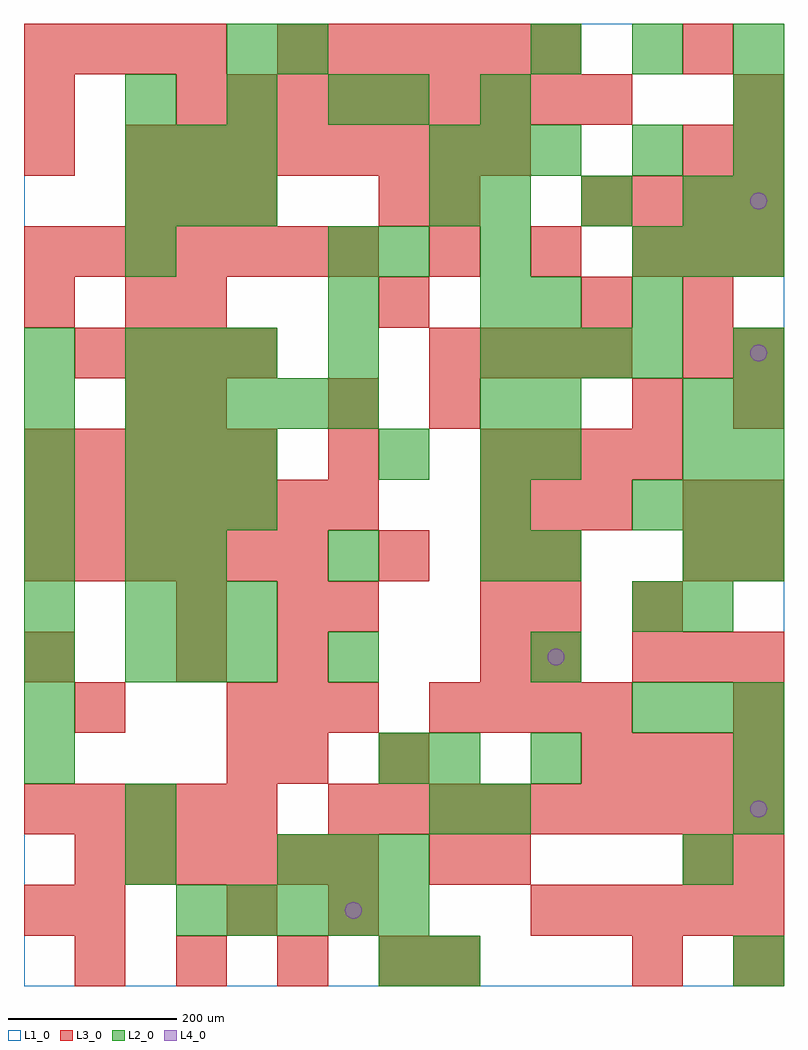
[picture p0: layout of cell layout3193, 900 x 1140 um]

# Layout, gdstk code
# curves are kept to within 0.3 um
import gdstk
lib = gdstk.Library(unit=1e-6, precision=1e-09)
def R(c, l, rs):  # rectangles x0, y0, x1, y1
    for r in rs: c.add(gdstk.rectangle(r[:2], r[2:], *l))
def A(c, l, x, y, w, h, nx, ny, dx, dy):  # array of equal rectangles
    R(c, l, [(x+i*dx, y+j*dy, x+i*dx+w, y+j*dy+h) for i in range(nx) for j in range(ny)])
def P(c, l, *ps):  # polygons
    for p in ps: c.add(gdstk.Polygon(p, *l))
L1_0 = (1, 0)
L2_0 = (2, 0)
L3_0 = (3, 0)
L4_0 = (4, 0)

layout3193 = lib.new_cell('layout3193')
R(layout3193, L1_0, [(0,0,900,1140)])
A(layout3193, L2_0, 180, 60, 60, 60, 5, 1, 60, 0)
A(layout3193, L2_0, 300, 120, 60, 60, 3, 1, 60, 0)
A(layout3193, L2_0, 0, 240, 60, 60, 1, 9, 0, 60)
A(layout3193, L2_0, 600, 240, 60, 60, 1, 4, 0, 120)
A(layout3193, L2_0, 720, 300, 60, 60, 3, 2, 60, 240)
A(layout3193, L2_0, 120, 360, 60, 60, 3, 2, 60, 60)
A(layout3193, L2_0, 180, 480, 60, 60, 3, 1, 180, 0)
A(layout3193, L2_0, 120, 540, 60, 60, 3, 2, 60, 60)
A(layout3193, L2_0, 540, 540, 60, 60, 1, 3, 0, 60)
A(layout3193, L2_0, 840, 600, 60, 60, 1, 3, 0, 60)
A(layout3193, L2_0, 120, 660, 60, 60, 5, 1, 60, 0)
A(layout3193, L2_0, 120, 720, 60, 60, 3, 2, 60, 180)
A(layout3193, L2_0, 360, 720, 60, 60, 1, 3, 0, 60)
A(layout3193, L2_0, 540, 720, 60, 60, 4, 1, 60, 0)
A(layout3193, L2_0, 720, 840, 60, 60, 3, 1, 60, 0)
A(layout3193, L2_0, 540, 900, 60, 60, 3, 1, 120, 0)
A(layout3193, L2_0, 840, 900, 60, 60, 1, 3, 0, 60)
A(layout3193, L2_0, 120, 960, 60, 60, 3, 1, 60, 0)
A(layout3193, L2_0, 480, 960, 60, 60, 3, 1, 60, 0)
A(layout3193, L2_0, 120, 1020, 60, 60, 3, 1, 120, 0)
A(layout3193, L2_0, 600, 1080, 60, 60, 3, 1, 120, 0)
R(layout3193, L2_0, [(420,0,480,60), (480,0,540,60), (840,0,900,60), (120,120,180,180), (780,120,840,180), (120,180,180,240), (480,180,540,240), (540,180,600,240), (840,180,900,240), (420,240,480,300), (480,240,540,300), (840,240,900,300), (360,360,420,420), (720,420,780,480), (780,420,840,480), (120,480,180,540), (780,480,840,540), (840,480,900,540), (420,600,480,660), (780,600,840,660), (600,660,660,720), (780,660,840,720), (540,780,600,840), (600,780,660,840), (720,780,780,840), (120,840,180,900), (420,840,480,900), (540,840,600,900), (480,900,540,960), (720,960,780,1020), (420,1020,480,1080), (540,1020,600,1080), (240,1080,300,1140), (300,1080,360,1140)])
A(layout3193, L3_0, 60, 0, 60, 60, 4, 1, 120, 0)
A(layout3193, L3_0, 600, 60, 60, 60, 5, 1, 60, 0)
A(layout3193, L3_0, 60, 120, 60, 60, 6, 1, 60, 0)
A(layout3193, L3_0, 840, 120, 60, 60, 1, 3, 0, 180)
A(layout3193, L3_0, 0, 180, 60, 60, 5, 2, 60, 420)
A(layout3193, L3_0, 360, 180, 60, 60, 9, 1, 60, 0)
A(layout3193, L3_0, 660, 240, 60, 60, 4, 2, 60, 660)
A(layout3193, L3_0, 240, 300, 60, 60, 3, 1, 60, 0)
A(layout3193, L3_0, 480, 300, 60, 60, 4, 2, 60, 420)
A(layout3193, L3_0, 540, 360, 60, 60, 1, 3, 0, 60)
A(layout3193, L3_0, 600, 360, 60, 60, 1, 3, 0, 60)
A(layout3193, L3_0, 720, 360, 60, 60, 3, 1, 60, 0)
A(layout3193, L3_0, 0, 480, 60, 60, 6, 1, 60, 0)
A(layout3193, L3_0, 0, 540, 60, 60, 7, 2, 60, 300)
A(layout3193, L3_0, 540, 540, 60, 60, 3, 1, 60, 0)
A(layout3193, L3_0, 540, 600, 60, 60, 4, 1, 60, 0)
A(layout3193, L3_0, 60, 720, 60, 60, 4, 1, 60, 0)
A(layout3193, L3_0, 780, 720, 60, 60, 1, 3, 0, 60)
A(layout3193, L3_0, 840, 720, 60, 60, 1, 3, 0, 120)
A(layout3193, L3_0, 180, 780, 60, 60, 3, 1, 240, 0)
A(layout3193, L3_0, 480, 840, 60, 60, 3, 1, 120, 0)
A(layout3193, L3_0, 120, 900, 60, 60, 3, 1, 60, 0)
A(layout3193, L3_0, 120, 960, 60, 60, 8, 1, 60, 0)
A(layout3193, L3_0, 180, 1020, 60, 60, 9, 1, 60, 0)
A(layout3193, L3_0, 0, 1080, 60, 60, 4, 1, 60, 0)
A(layout3193, L3_0, 300, 1080, 60, 60, 6, 1, 60, 0)
R(layout3193, L3_0, [(480,0,540,60), (720,0,780,60), (840,0,900,60), (0,60,60,120), (60,60,120,120), (240,60,300,120), (360,60,420,120), (480,120,540,180), (540,120,600,180), (780,120,840,180), (240,240,300,300), (300,240,360,300), (420,240,480,300), (60,300,120,360), (0,360,60,420), (180,360,240,420), (300,360,360,420), (180,420,240,480), (300,420,360,480), (360,420,420,480), (720,420,780,480), (420,480,480,540), (780,480,840,540), (780,540,840,600), (840,540,900,600), (360,600,420,660), (120,660,180,720), (180,660,240,720), (360,660,420,720), (480,660,540,720), (720,660,780,720), (840,660,900,720), (0,780,60,840), (120,780,180,840), (420,900,480,960), (480,900,540,960), (0,960,60,1020), (780,960,840,1020), (0,1020,60,1080), (840,1020,900,1080), (780,1080,840,1140)])
P(layout3193, L4_0, [(400,90),(399.239,93.827),(397.071,97.071),(393.827,99.239),(390,100),(386.173,99.239),(382.929,97.071),(380.761,93.827),(380,90),(380.761,86.173),(382.929,82.929),(386.173,80.761),(390,80),(393.827,80.761),(397.071,82.929),(399.239,86.173)],
  [(640,390),(639.239,393.827),(637.071,397.071),(633.827,399.239),(630,400),(626.173,399.239),(622.929,397.071),(620.761,393.827),(620,390),(620.761,386.173),(622.929,382.929),(626.173,380.761),(630,380),(633.827,380.761),(637.071,382.929),(639.239,386.173)],
  [(880,210),(879.239,213.827),(877.071,217.071),(873.827,219.239),(870,220),(866.173,219.239),(862.929,217.071),(860.761,213.827),(860,210),(860.761,206.173),(862.929,202.929),(866.173,200.761),(870,200),(873.827,200.761),(877.071,202.929),(879.239,206.173)],
  [(880,750),(879.239,753.827),(877.071,757.071),(873.827,759.239),(870,760),(866.173,759.239),(862.929,757.071),(860.761,753.827),(860,750),(860.761,746.173),(862.929,742.929),(866.173,740.761),(870,740),(873.827,740.761),(877.071,742.929),(879.239,746.173)],
  [(880,930),(879.239,933.827),(877.071,937.071),(873.827,939.239),(870,940),(866.173,939.239),(862.929,937.071),(860.761,933.827),(860,930),(860.761,926.173),(862.929,922.929),(866.173,920.761),(870,920),(873.827,920.761),(877.071,922.929),(879.239,926.173)])

lib.write_gds('layout3193.gds')
